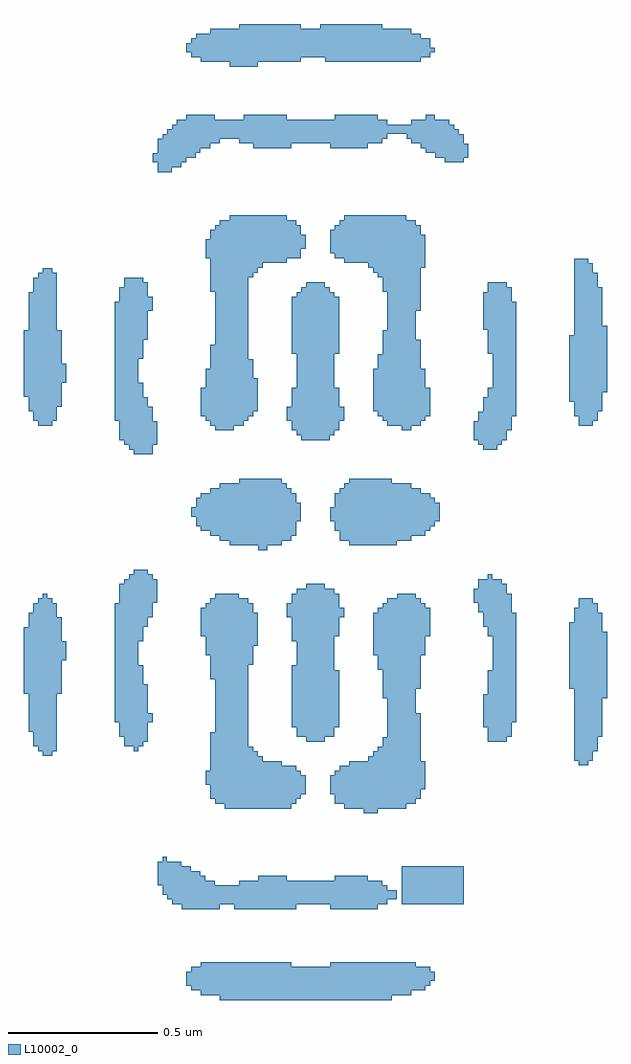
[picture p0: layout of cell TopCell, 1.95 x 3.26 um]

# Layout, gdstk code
import gdstk
lib = gdstk.Library(unit=1e-6, precision=1e-09)
def R(c, l, rs):  # rectangles x0, y0, x1, y1
    for r in rs: c.add(gdstk.rectangle(r[:2], r[2:], *l))
L10002_0 = (10002, 0)

topcell = lib.new_cell('TopCell')
R(topcell, L10002_0, [(1.12,0.432,1.359,0.559), (1.359,0.432,1.695,0.543), (1.056,0.448,1.12,0.559), (1.695,0.448,1.759,0.559), (1.024,0.464,1.056,0.543), (1.759,0.464,1.775,0.559), (1.775,0.464,1.807,0.543), (1.008,0.48,1.024,0.527), (1.807,0.48,1.823,0.543), (1.823,0.496,1.839,0.527), (1.488,0.543,1.695,0.559), (0.992,0.736,1.023,0.879), (1.023,0.736,1.055,0.863), (1.055,0.736,1.071,0.847), (1.071,0.736,1.103,0.831), (1.103,0.736,1.119,0.815), (1.168,0.736,1.375,0.815), (1.488,0.736,1.647,0.831), (0.96,0.752,0.991,0.895), (0.991,0.752,0.992,0.879), (1.119,0.752,1.168,0.815), (1.375,0.752,1.488,0.831), (1.647,0.752,1.663,0.831), (1.663,0.752,1.679,0.815), (1.728,0.752,1.935,0.879), (0.944,0.768,0.96,0.895), (1.679,0.768,1.711,0.799), (0.928,0.784,0.943,0.911), (0.943,0.784,0.944,0.895), (1.184,0.815,1.375,0.831), (0.912,0.816,0.928,0.895), (1.248,0.831,1.343,0.847), (1.504,0.831,1.615,0.847), (1.6,1.056,1.647,1.231), (1.136,1.072,1.183,1.791), (1.183,1.072,1.215,1.775), (1.215,1.072,1.231,1.279), (1.231,1.072,1.247,1.263), (1.247,1.072,1.263,1.247), (1.263,1.072,1.327,1.231), (1.327,1.072,1.359,1.215), (1.536,1.072,1.6,1.215), (1.647,1.072,1.743,1.263), (1.104,1.088,1.136,1.791), (1.359,1.088,1.375,1.215), (1.504,1.088,1.536,1.199), (1.743,1.088,1.775,1.791), (1.088,1.104,1.104,1.327), (1.375,1.104,1.391,1.199), (1.775,1.104,1.791,1.391), (1.391,1.12,1.407,1.183), (1.488,1.12,1.504,1.183), (1.791,1.136,1.807,1.231), (1.072,1.152,1.088,1.199), (1.52,1.199,1.536,1.215), (1.552,1.215,1.6,1.231), (2.32,1.216,2.351,1.775), (1.616,1.231,1.647,1.247), (2.304,1.232,2.32,1.743), (2.351,1.232,2.367,1.775), (1.632,1.247,1.647,1.263), (0.528,1.248,0.543,1.791), (0.543,1.248,0.559,1.775), (1.648,1.263,1.743,1.279), (0.512,1.264,0.528,1.775), (0.559,1.264,0.575,1.759), (0.832,1.264,0.847,1.871), (2.367,1.264,2.383,1.759), (1.664,1.279,1.743,1.311), (0.496,1.28,0.512,1.759), (0.8,1.28,0.832,1.839), (0.847,1.28,0.863,1.551), (0.863,1.296,0.879,1.487), (1.408,1.296,1.471,1.823), (2.016,1.296,2.079,1.535), (1.68,1.311,1.743,1.775), (0.784,1.312,0.8,1.823), (1.376,1.312,1.408,1.807), (1.471,1.312,1.503,1.807), (2.079,1.312,2.095,1.791), (2.383,1.312,2.399,1.727), (0.48,1.328,0.496,1.727), (1.36,1.344,1.376,1.551), (1.503,1.344,1.519,1.535), (2,1.344,2.016,1.455), (0.768,1.36,0.784,1.759), (0.879,1.36,0.895,1.391), (2.095,1.36,2.111,1.727), (1.664,1.44,1.68,1.759), (2.399,1.44,2.415,1.663), (0.464,1.456,0.48,1.679), (0.575,1.456,0.591,1.711), (1.775,1.472,1.791,1.775), (2.288,1.472,2.304,1.695), (1.088,1.504,1.104,1.775), (2.032,1.535,2.063,1.839), (2.063,1.535,2.079,1.823), (1.648,1.536,1.664,1.743), (1.215,1.552,1.231,1.759), (0.591,1.568,0.607,1.631), (1.072,1.584,1.088,1.759), (1.632,1.584,1.648,1.727), (1.791,1.584,1.807,1.759), (1.231,1.616,1.247,1.727), (0.847,1.632,0.863,1.871), (1.36,1.632,1.376,1.791), (1.056,1.648,1.072,1.743), (1.503,1.648,1.519,1.791), (1.807,1.648,1.823,1.743), (2.016,1.648,2.031,1.855), (2.031,1.648,2.032,1.839), (0.863,1.68,0.879,1.871), (2,1.68,2.016,1.839), (0.879,1.712,0.895,1.855), (1.344,1.712,1.36,1.759), (1.519,1.712,1.535,1.743), (1.984,1.728,2,1.839), (0.895,1.76,0.911,1.839), (1.968,1.76,1.984,1.807), (1.712,1.775,1.743,1.791), (0.816,1.839,0.832,1.855), (1.248,1.936,1.279,2.175), (1.152,1.952,1.248,2.159), (1.279,1.952,1.327,2.175), (1.552,1.952,1.695,2.175), (1.695,1.952,1.711,2.159), (1.12,1.968,1.152,2.159), (1.327,1.968,1.343,2.159), (1.343,1.968,1.359,2.143), (1.52,1.968,1.552,2.143), (1.711,1.968,1.759,2.159), (1.088,1.984,1.12,2.143), (1.359,1.984,1.375,2.127), (1.759,1.984,1.791,2.143), (1.791,1.984,1.807,2.127), (1.056,2,1.088,2.127), (1.504,2,1.52,2.127), (1.807,2,1.823,2.127), (1.04,2.016,1.056,2.111), (1.823,2.016,1.839,2.111), (1.375,2.032,1.391,2.095), (1.488,2.032,1.504,2.079), (1.839,2.032,1.855,2.095), (1.024,2.048,1.04,2.079), (1.536,2.143,1.552,2.159), (1.184,2.159,1.248,2.175), (0.832,2.256,0.847,2.847), (0.847,2.256,0.863,2.495), (0.863,2.256,0.879,2.447), (0.879,2.256,0.895,2.415), (0.816,2.272,0.832,2.847), (2,2.272,2.047,2.447), (0.8,2.288,0.816,2.847), (0.895,2.288,0.911,2.367), (1.984,2.288,2,2.399), (2.047,2.288,2.063,2.831), (0.784,2.304,0.8,2.815), (1.392,2.304,1.487,2.815), (1.968,2.304,1.984,2.367), (2.063,2.304,2.079,2.831), (1.376,2.32,1.392,2.799), (1.487,2.32,1.503,2.799), (1.104,2.336,1.167,3.023), (1.36,2.336,1.376,2.479), (1.503,2.336,1.519,2.479), (1.728,2.336,1.743,3.055), (1.743,2.336,1.759,3.039), (2.079,2.336,2.095,2.815), (0.512,2.352,0.559,2.863), (1.088,2.352,1.104,2.623), (1.167,2.352,1.199,3.055), (1.68,2.352,1.728,3.055), (1.759,2.352,1.775,3.039), (1.775,2.352,1.791,2.639), (2.32,2.352,2.351,2.911), (2.351,2.352,2.367,2.895), (0.496,2.368,0.512,2.847), (0.559,2.368,0.575,2.863), (0.768,2.368,0.784,2.767), (1.072,2.368,1.088,2.543), (1.199,2.368,1.215,3.055), (1.344,2.368,1.36,2.415), (1.519,2.368,1.535,2.415), (1.664,2.368,1.68,2.671), (1.791,2.368,1.807,2.543), (2.367,2.368,2.383,2.863), (1.056,2.384,1.072,2.479), (1.215,2.384,1.231,2.575), (1.648,2.384,1.664,2.591), (1.807,2.384,1.823,2.479), (2.095,2.384,2.111,2.767), (2.304,2.384,2.32,2.911), (0.48,2.4,0.496,2.799), (1.231,2.4,1.247,2.511), (1.632,2.4,1.648,2.543), (2.383,2.4,2.399,2.815), (0.575,2.416,0.591,2.671), (2.288,2.432,2.304,2.655), (2.016,2.447,2.047,2.479), (0.464,2.448,0.48,2.671), (2.399,2.464,2.415,2.687), (2.032,2.479,2.047,2.831), (0.591,2.496,0.607,2.559), (0.847,2.576,0.863,2.847), (1.36,2.592,1.376,2.783), (1.503,2.592,1.519,2.783), (2.016,2.592,2.032,2.831), (0.863,2.64,0.879,2.831), (2,2.672,2.016,2.799), (0.879,2.736,0.895,2.783), (1.775,2.736,1.791,3.023), (1.088,2.8,1.104,3.007), (1.664,2.8,1.68,3.055), (1.408,2.815,1.471,2.831), (1.215,2.848,1.231,3.055), (1.648,2.848,1.664,3.055), (0.528,2.863,0.559,2.879), (1.231,2.864,1.247,3.055), (1.632,2.864,1.648,3.055), (1.247,2.88,1.263,3.055), (1.616,2.88,1.632,3.055), (1.791,2.88,1.807,2.991), (1.263,2.896,1.343,3.055), (1.536,2.896,1.616,3.055), (1.072,2.912,1.088,2.975), (1.343,2.912,1.375,3.039), (1.375,2.912,1.391,3.023), (1.504,2.912,1.536,3.023), (1.488,2.928,1.504,3.007), (1.391,2.944,1.407,2.991), (1.12,3.023,1.167,3.039), (1.52,3.023,1.536,3.039), (1.152,3.039,1.167,3.055), (0.912,3.2,0.959,3.311), (0.959,3.216,0.991,3.343), (0.896,3.232,0.912,3.263), (0.991,3.232,1.007,3.375), (1.872,3.232,1.887,3.375), (1.887,3.232,1.903,3.359), (1.903,3.232,1.919,3.343), (1.919,3.232,1.935,3.327), (1.007,3.248,1.039,3.375), (1.84,3.248,1.872,3.375), (1.935,3.248,1.951,3.295), (1.039,3.264,1.055,3.391), (1.808,3.264,1.839,3.391), (1.839,3.264,1.84,3.375), (1.055,3.28,1.087,3.391), (1.232,3.28,1.343,3.391), (1.343,3.28,1.359,3.375), (1.488,3.28,1.615,3.375), (1.792,3.28,1.808,3.375), (1.087,3.296,1.103,3.391), (1.103,3.296,1.119,3.375), (1.184,3.296,1.232,3.375), (1.359,3.296,1.488,3.375), (1.615,3.296,1.647,3.391), (1.647,3.296,1.663,3.375), (1.76,3.296,1.792,3.375), (0.928,3.311,0.959,3.327), (1.119,3.312,1.184,3.375), (1.663,3.312,1.679,3.375), (1.744,3.312,1.76,3.359), (0.944,3.327,0.959,3.343), (1.679,3.328,1.744,3.359), (0.96,3.343,0.991,3.359), (0.976,3.359,0.991,3.375), (1.008,3.375,1.039,3.391), (1.2,3.375,1.232,3.391), (1.504,3.375,1.615,3.391), (1.152,3.552,1.247,3.679), (1.056,3.568,1.152,3.663), (1.247,3.568,1.391,3.695), (1.472,3.568,1.663,3.695), (1.663,3.568,1.759,3.679), (1.759,3.568,1.791,3.663), (1.024,3.584,1.056,3.647), (1.391,3.584,1.472,3.679), (1.791,3.584,1.823,3.647), (1.008,3.6,1.024,3.631), (1.823,3.6,1.839,3.615), (1.04,3.647,1.056,3.663), (1.088,3.663,1.152,3.679), (1.184,3.679,1.247,3.695), (1.456,3.679,1.472,3.695)])

lib.write_gds('TopCell.gds')
